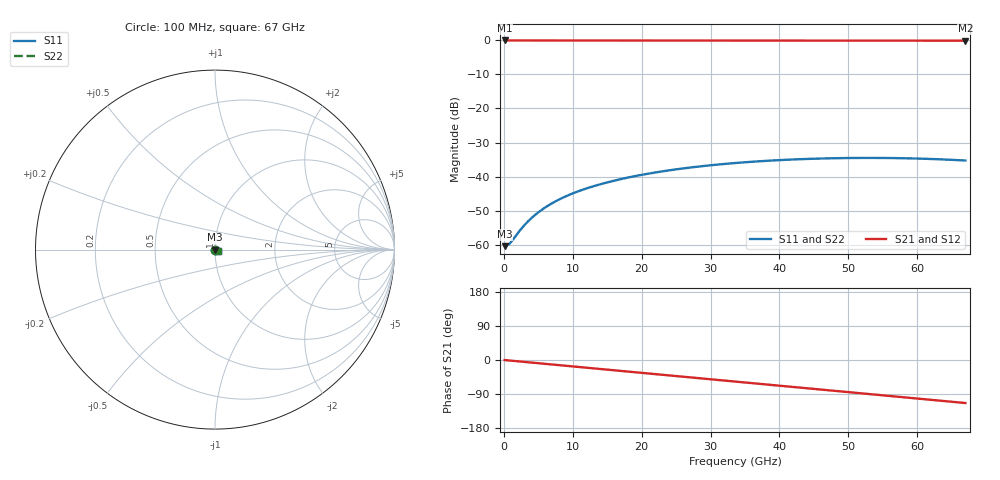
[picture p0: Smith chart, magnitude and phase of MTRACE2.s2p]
! Touchstone Ver. 1.0
! Number of ports is 2
# Hz  S RI  R  50
! SCATTERING PARAMETERS  :
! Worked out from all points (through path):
!   101 points, 100 MHz to 67 GHz, reference 50 ohm
!   highest |S21| = -0.01 dB at 100 MHz (marker M1); lowest = -0.1 dB at 67 GHz (marker M2)
!   group delay of S21, straight-line fit = 4.71 ps
!   lowest |S11| = -60.5 dB at 100 MHz (marker M3), VSWR 1.00, Z = 50.1 + j0.0053 ohm
!   |S11| at or under -10 dB: start of sweep to end of sweep
!   |S22| runs from -60.5 to -34.5 dB; largest |S21 - S12| = 0
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1e8  0.000946 5.29e-05  0.999 -0.00296  0.999 -0.00296  0.000946 5.29e-05
7.69e8  0.000929 0.000407  0.9988 -0.0227  0.9988 -0.0227  0.000929 0.000407
2.776e9  0.00111 0.00146  0.9954 -0.0819  0.9954 -0.0819  0.00111 0.00146
3.445e9  0.0012 0.0018  0.9935 -0.1016  0.9935 -0.1016  0.0012 0.0018
4.114e9  0.00131 0.00214  0.9912 -0.1212  0.9912 -0.1212  0.00131 0.00214
5.452e9  0.00158 0.0028  0.9855 -0.1603  0.9855 -0.1603  0.00158 0.0028
6.79e9  0.00192 0.00344  0.9781 -0.1992  0.9781 -0.1992  0.00192 0.00344
8.128e9  0.00231 0.00405  0.9693 -0.2377  0.9693 -0.2377  0.00231 0.00405
9.466e9  0.00274 0.00462  0.9589 -0.2758  0.9589 -0.2758  0.00274 0.00462
1.1473e10  0.00341 0.00543  0.9407 -0.3321  0.9407 -0.3321  0.00341 0.00543
1.4149e10  0.00441 0.0064  0.9112 -0.4054  0.9112 -0.4054  0.00441 0.0064
1.6825e10  0.00556 0.00719  0.876 -0.476  0.876 -0.476  0.00556 0.00719
1.9501e10  0.00682 0.00779  0.8354 -0.5437  0.8354 -0.5437  0.00682 0.00779
2.2846e10  0.0085 0.00824  0.7774 -0.6233  0.7774 -0.6233  0.0085 0.00824
2.8198e10  0.0113 0.00824  0.669 -0.7377  0.669 -0.7377  0.0113 0.00824
3.355e10  0.014 0.00736  0.544 -0.8335  0.544 -0.8335  0.014 0.00736
3.9571e10  0.0165 0.00542  0.3875 -0.9161  0.3875 -0.9161  0.0165 0.00542
4.4923e10  0.018 0.00303  0.2382 -0.9653  0.2382 -0.9653  0.018 0.00303
5.0944e10  0.0187 -8e-05  0.0634 -0.9916  0.0634 -0.9916  0.0187 -8e-05
5.6296e10  0.0184 -0.00293  -0.0937 -0.9887  -0.0937 -0.9887  0.0184 -0.00293
6.1648e10  0.0173 -0.00556  -0.2482 -0.9611  -0.2482 -0.9611  0.0173 -0.00556
6.7e10  0.0154 -0.0077  -0.3964 -0.9095  -0.3964 -0.9095  0.0154 -0.0077
